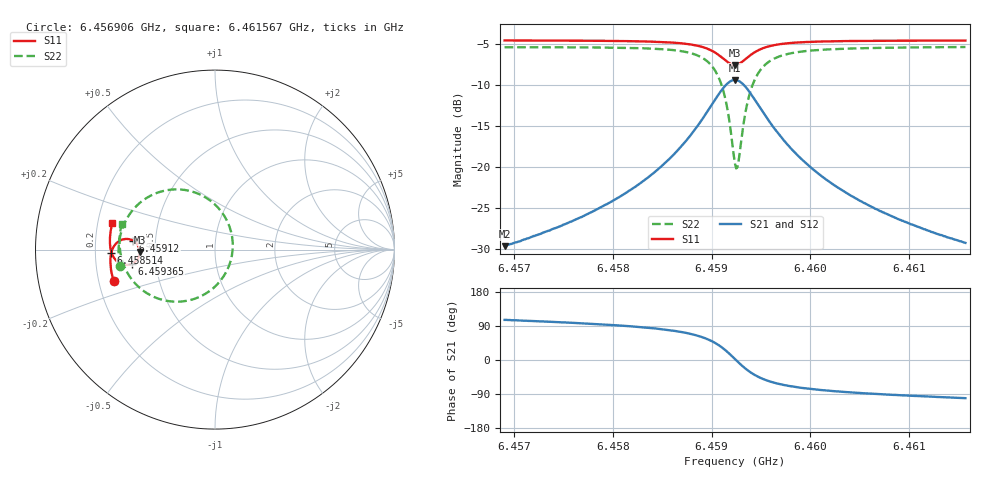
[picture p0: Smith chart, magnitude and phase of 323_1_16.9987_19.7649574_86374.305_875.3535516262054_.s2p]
#  HZ  S  RI  R  50.00
! Rohde & Schwarz Vector Network Analyzer
! Rohde-Schwarz,ZNB20-2Port,1311601062101988,3.16
! Created: UTC 3/20/2024, 11:06:35 PM
! freq[Hz]  re:S11  im:S11  re:S21  im:S21  re:S12  im:S12  re:S22  im:S22
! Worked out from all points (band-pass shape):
!   401 points, 6.456906 GHz to 6.461567 GHz, reference 50 ohm
!   highest |S21| = -9.37 dB at 6.459237 GHz (marker M1); lowest = -29.6 dB at 6.456906 GHz (marker M2)
!   |S21| within 3 dB of the highest: 6.459003 GHz to 6.45947 GHz (466.6 kHz wide, 0.00722 % of centre)
!   lowest |S11| = -7.5 dB at 6.459237 GHz (marker M3), VSWR 2.45, Z = 20.4 - j0.648 ohm
!   |S11| at or under -10 dB: nowhere
!   |S22| runs from -20.1 to -5.4 dB; largest |S21 - S12| = 0.013
!   S11 on the Smith chart (normalised r, x): 6.456906 GHz: 0.26, -0.14; 6.458514 GHz: 0.27, -0.02; 6.45912 GHz: 0.37, +0.05; 6.459365 GHz: 0.37, -0.07; 6.461567 GHz: 0.26, +0.12
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6.4569062e9  -0.5649 -0.1773  -0.00901 0.0318  -0.00736 0.0319  -0.5309 -0.0899
6.4576869e9  -0.5796 -0.1096  -0.00596 0.0494  -0.00351 0.049  -0.5374 0.00029
6.4581181e9  -0.5831 -0.0667  -0.000156 0.0688  0.00313 0.0676  -0.5298 0.0673
6.4584677e9  -0.5796 -0.0253  0.0134 0.0975  0.0174 0.0947  -0.5053 0.1446
6.4585143e9  -0.5783 -0.0188  0.0167 0.1027  0.0207 0.0998  -0.4991 0.1575
6.4587241e9  -0.5663 0.013  0.0424 0.1343  0.0466 0.1295  -0.4511 0.2286
6.4588756e9  -0.5452 0.0393  0.0844 0.1642  0.0878 0.1578  -0.3738 0.292
6.4590271e9  -0.4995 0.0592  0.1753 0.1831  0.1763 0.1759  -0.2085 0.3355
6.4591203e9  -0.4554 0.0491  0.2641 0.1522  0.2644 0.1464  -0.0449 0.2859
6.4591669e9  -0.4344 0.0306  0.3071 0.1099  0.3083 0.1047  0.036 0.211
6.4592368e9  -0.4198 -0.0131  0.3397 0.0145  0.3432 0.00769  0.099 0.0347
6.4592485e9  -0.4202 -0.021  0.3396 -0.00282  0.3431 -0.0105  0.0984 0.00182
6.4592718e9  -0.4238 -0.0364  0.334 -0.0372  0.3375 -0.0461  0.0874 -0.0625
6.45933e9  -0.4442 -0.067  0.2964 -0.1076  0.2976 -0.1197  0.0116 -0.1946
6.459365e9  -0.461 -0.078  0.2648 -0.1363  0.2636 -0.149  -0.0522 -0.2455
6.4594582e9  -0.5037 -0.0846  0.1815 -0.1669  0.1754 -0.1779  -0.2168 -0.2902
6.4596097e9  -0.547 -0.0643  0.0952 -0.1535  0.087 -0.1596  -0.3805 -0.2421
6.4597729e9  -0.5683 -0.0368  0.0509 -0.1264  0.0436 -0.129  -0.4591 -0.1719
6.4600176e9  -0.5811 -0.00133  0.0223 -0.0954  0.0165 -0.0961  -0.5064 -0.0907
6.4603672e9  -0.5857 0.04  0.00643 -0.0692  0.00249 -0.0688  -0.5276 -0.0125
6.4607984e9  -0.5838 0.0829  -0.00135 -0.051  -0.00403 -0.0502  -0.5318 0.0552
6.4615675e9  -0.5716 0.151  -0.00642 -0.034  -0.00802 -0.033  -0.5203 0.1447
